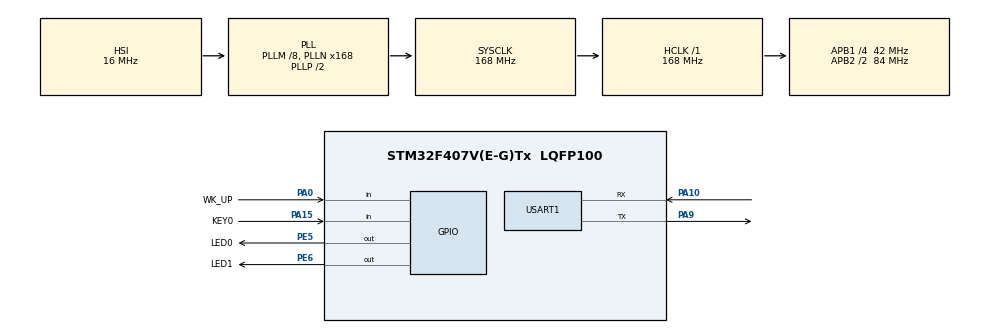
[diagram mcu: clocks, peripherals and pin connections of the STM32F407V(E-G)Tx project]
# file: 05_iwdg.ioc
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IWDG.Prescaler=IWDG_PRESCALER_64
IWDG.Reload=500
Mcu.Family=STM32F4
Mcu.Name=STM32F407V(E-G)Tx
Mcu.Package=LQFP100
NVIC.PriorityGroup=NVIC_PRIORITYGROUP_2
NVIC.USART1_IRQn=true\:2\:2\:true\:false\:true\:true\:true\:true
PA0-WKUP.GPIO_Label=WK_UP
PA0-WKUP.GPIO_PuPd=GPIO_PULLDOWN
PA0-WKUP.Signal=GPIO_Input
PA10.Mode=Asynchronous
PA10.Signal=USART1_RX
PA13.Mode=Serial_Wire
PA13.Signal=SYS_JTMS-SWDIO
PA14.Mode=Serial_Wire
PA14.Signal=SYS_JTCK-SWCLK
PA15.GPIO_Label=KEY0
PA15.GPIO_PuPd=GPIO_PULLDOWN
PA15.Signal=GPIO_Input
PA9.Mode=Asynchronous
PA9.Signal=USART1_TX
PC14-OSC32_IN.Mode=LSE-External-Oscillator
PC14-OSC32_IN.Signal=RCC_OSC32_IN
PC15-OSC32_OUT.Mode=LSE-External-Oscillator
PC15-OSC32_OUT.Signal=RCC_OSC32_OUT
PE5.GPIO_Label=LED0
PE5.GPIO_PuPd=GPIO_PULLUP
PE5.GPIO_Speed=GPIO_SPEED_FREQ_HIGH
PE5.PinState=GPIO_PIN_SET
PE5.Signal=GPIO_Output
PE6.GPIO_Label=LED1
PE6.GPIO_PuPd=GPIO_PULLUP
PE6.GPIO_Speed=GPIO_SPEED_FREQ_HIGH
PE6.PinState=GPIO_PIN_SET
PE6.Signal=GPIO_Output
PH0-OSC_IN.Mode=HSE-External-Oscillator
PH0-OSC_IN.Signal=RCC_OSC_IN
PH1-OSC_OUT.Mode=HSE-External-Oscillator
PH1-OSC_OUT.Signal=RCC_OSC_OUT
ProjectManager.HeapSize=0x200
ProjectManager.StackSize=0x400
ProjectManager.TargetToolchain=STM32CubeIDE
RCC.48MHZClocksFreq_Value=84000000
RCC.AHBFreq_Value=168000000
RCC.APB1CLKDivider=RCC_HCLK_DIV4
RCC.APB1Freq_Value=42000000
RCC.APB1TimFreq_Value=84000000
RCC.APB2CLKDivider=RCC_HCLK_DIV2
RCC.APB2Freq_Value=84000000
RCC.APB2TimFreq_Value=168000000
RCC.CortexFreq_Value=168000000
RCC.HCLKFreq_Value=168000000
RCC.HSE_VALUE=25000000
RCC.HSI_VALUE=16000000
RCC.PLLM=8
RCC.PLLN=168
RCC.SYSCLKFreq_VALUE=168000000
RCC.SYSCLKSource=RCC_SYSCLKSOURCE_PLLCLK
RCC.VCOOutputFreq_Value=336000000
USART1.VirtualMode=VM_ASYNC
VP_IWDG_VS_IWDG.Mode=IWDG_Activate
board=custom

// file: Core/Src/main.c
/**
 ****************************************************************************************************
 * @file        main.c
 * @author      ALIENTEK
 * @brief       iwdg code
 * @license     Copyright (C) 2012-2024, ALIENTEK
 ****************************************************************************************************
 * @attention
 *
 * platform     : ALIENTEK M100-STM32F407 board
 * website      : www.alientek.com
 * forum        : www.openedv.com/forum.php
 *
 * change logs  :
 * version      data         notes
 * V1.0         20240409     the first version
 *
 ****************************************************************************************************
 */

/* USER CODE BEGIN Header */

/* USER CODE END Header */
#include "main.h"
#include "iwdg.h"
#include "usart.h"
#include "gpio.h"

/* USER CODE BEGIN Includes */
#include "../../BSP/LED/led.h"
#include "../../BSP/KEY/key.h"
/* USER CODE END Includes */

/* USER CODE BEGIN PD */
/**
 * @brief   Displays information about the experiment
 * @param   None
 * @retval  None
 */
void stm32f407vg_show_mesg(void)
{
	/* The serial port outputs the experimental information */
	printf("\n");
	printf("********************************\r\n");
	printf("STM32F407\r\n");
	printf("IWDG Test\r\n");
	printf("ATOM@ALIENTEK\r\n");
	printf("********************************\r\n");
	printf("\r\n");
}
/* USER CODE END PD */

void SystemClock_Config(void);

int main(void)
{

  /* MCU Configuration--------------------------------------------------------*/

  /* Reset of all peripherals, Initializes the Flash interface and the Systick. */
  HAL_Init();

  /* Configure the system clock */
  SystemClock_Config();

  /* Initialize all configured peripherals */
  MX_GPIO_Init();
  MX_USART1_UART_Init();
  MX_IWDG_Init();
  /* USER CODE BEGIN 2 */
  HAL_Delay(100);   		  /* delay 100ms */
  LED0(0);                    /* turn on LED0 */
  stm32f407vg_show_mesg();
  /* USER CODE END 2 */

  /* Infinite loop */
  /* USER CODE BEGIN WHILE */
  while (1)
  {
    if (key_scan(0) == WKUP_PRES)        /* If WK_UP is pressed, the dog is fed. */
	{
	    iwdg_feed();                     /* feed the dog */
	}

	HAL_Delay(10);   		 /* delay 10ms */
    /* USER CODE END WHILE */

  }
}

void SystemClock_Config(void)
{
  RCC_OscInitTypeDef RCC_OscInitStruct = {0};
  RCC_ClkInitTypeDef RCC_ClkInitStruct = {0};

  /** Configure the main internal regulator output voltage
  */
  __HAL_RCC_PWR_CLK_ENABLE();
  __HAL_PWR_VOLTAGESCALING_CONFIG(PWR_REGULATOR_VOLTAGE_SCALE1);

  /** Initializes the RCC Oscillators according to the specified parameters
  * in the RCC_OscInitTypeDef structure.
  */
  RCC_OscInitStruct.OscillatorType = RCC_OSCILLATORTYPE_HSI|RCC_OSCILLATORTYPE_LSI;
  RCC_OscInitStruct.HSIState = RCC_HSI_ON;
  RCC_OscInitStruct.HSICalibrationValue = RCC_HSICALIBRATION_DEFAULT;
  RCC_OscInitStruct.LSIState = RCC_LSI_ON;
  RCC_OscInitStruct.PLL.PLLState = RCC_PLL_ON;
  RCC_OscInitStruct.PLL.PLLSource = RCC_PLLSOURCE_HSI;
  RCC_OscInitStruct.PLL.PLLM = 8;
  RCC_OscInitStruct.PLL.PLLN = 168;
  RCC_OscInitStruct.PLL.PLLP = RCC_PLLP_DIV2;
  RCC_OscInitStruct.PLL.PLLQ = 4;
  if (HAL_RCC_OscConfig(&RCC_OscInitStruct) != HAL_OK)
  {
    Error_Handler();
  }

  /** Initializes the CPU, AHB and APB buses clocks
  */
  RCC_ClkInitStruct.ClockType = RCC_CLOCKTYPE_HCLK|RCC_CLOCKTYPE_SYSCLK
                              |RCC_CLOCKTYPE_PCLK1|RCC_CLOCKTYPE_PCLK2;
  RCC_ClkInitStruct.SYSCLKSource = RCC_SYSCLKSOURCE_PLLCLK;
  RCC_ClkInitStruct.AHBCLKDivider = RCC_SYSCLK_DIV1;
  RCC_ClkInitStruct.APB1CLKDivider = RCC_HCLK_DIV4;
  RCC_ClkInitStruct.APB2CLKDivider = RCC_HCLK_DIV2;

  if (HAL_RCC_ClockConfig(&RCC_ClkInitStruct, FLASH_LATENCY_5) != HAL_OK)
  {
    Error_Handler();
  }
}

void Error_Handler(void)
{
  __disable_irq();
  while (1)
  {
  }
}
